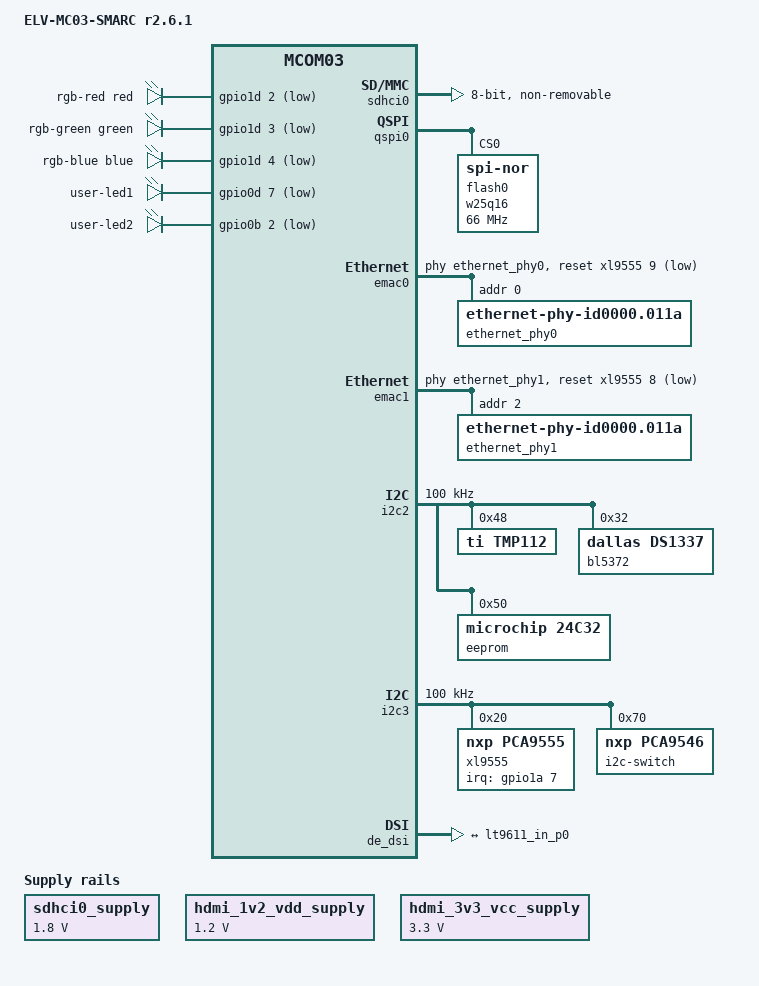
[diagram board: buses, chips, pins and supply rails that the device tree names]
// SPDX-License-Identifier: GPL-2.0+
/*
 * Copyright 2023 RnD Center "ELVEES", JSC
 */

/dts-v1/;

#include <dt-bindings/leds/common.h>
#include <dt-bindings/thermal/thermal.h>

#include "mcom03.dtsi"

/ {
	model = "ELV-MC03-SMARC r2.6.1";
	compatible = "elvees,elvmc03smarc-r2.6.1",
		     "elvees,elvmc03smarc",
		     "elvees,mcom03";

	elvmc03smarc-leds {
		compatible = "gpio-leds";

		rgb-red {
			gpios = <&gpio1d 2 GPIO_ACTIVE_LOW>;
			color = <LED_COLOR_ID_RED>;
			default-state = "off";
		};

		rgb-green {
			gpios = <&gpio1d 3 GPIO_ACTIVE_LOW>;
			color = <LED_COLOR_ID_GREEN>;
			default-state = "off";
		};

		rgb-blue {
			gpios = <&gpio1d 4 GPIO_ACTIVE_LOW>;
			color = <LED_COLOR_ID_BLUE>;
			default-state = "off";
		};

		user-led1 {
			gpios = <&gpio0d 7 GPIO_ACTIVE_LOW>;
			default-state = "on";
			linux,default-trigger = "heartbeat";
		};

		user-led2 {
			gpios = <&gpio0b 2 GPIO_ACTIVE_LOW>;
			default-state = "off";
		};
	};

	aliases {
		i2c5 = &i2c_cam0;
		i2c6 = &i2c_cam1;
		i2c7 = &i2c_lcd;
	};

	sdhci0_supply: regulator@0 {
		compatible = "regulator-fixed";
		regulator-name = "sdhci0-supply";
		regulator-min-microvolt = <1800000>;
		regulator-max-microvolt = <1800000>;
		regulator-always-on;
	};

	hdmi_1v2_vdd_supply: regulator@01 {
		compatible = "regulator-fixed";
		regulator-name = "hdmi-vdd-1.2v";
		regulator-min-microvolt = <1200000>;
		regulator-max-microvolt = <1200000>;
		regulator-always-on;
	};

	hdmi_3v3_vcc_supply: regulator@02 {
		compatible = "regulator-fixed";
		regulator-name = "hdmi-vcc-3.3v";
		regulator-min-microvolt = <3300000>;
		regulator-max-microvolt = <3300000>;
		regulator-always-on;
	};

	/* this is "G2" oscillator connected to SMARC "S38" pin*/
	audio_mclk: audio_mclk {
		status = "disabled";
		#clock-cells = <0>;
		compatible = "fixed-clock";
		clock-frequency = <12000000>;
	};

	hdmi_sound: hdmi-sound {
		compatible = "simple-audio-card";
		simple-audio-card,name = "ELV-MC03-SMARC HDMI Audio";
		simple-audio-card,format = "i2s";
		simple-audio-card,bitclock-master = <&dailink0_master>;
		simple-audio-card,frame-master = <&dailink0_master>;
		status = "disabled";

		dailink0_master: simple-audio-card,cpu {
			sound-dai = <&i2s0>;
		};

		simple-audio-card,codec {
			sound-dai = <&lt9611uxc>;
		};
	};

	thermal-zones {
		cpu_thermal: cpu0-thermal {
			thermal-sensors = <&pvt 0>;
			polling-delay-passive = <250>;
			polling-delay = <1000>;

			trips {
				cpu_alert0: cpu-alert-0 {
					temperature = <50000>;
					hysteresis = <1000>;
					type = "active";
				};
			};
		};
	};
};

/* Serial port definitions for SMARC */
ser0: &uart3 { };
ser1: &uart0 { };
ser2: &uart2 { };
ser3: &uart1 { };

&sdhci0 {
	status = "okay";
	non-removable;
	bus-width = <8>;
	vqmmc-supply = <&sdhci0_supply>;
};

&qspi0 {
	status = "okay";

	flash0: w25q16@0 {
		#address-cells = <1>;
		#size-cells = <1>;
		compatible = "jedec,spi-nor", "spi-flash";
		reg = <0x0>;
		/* This is the highest frequency at which all commands are
		 * supported by the flash device.
		 */
		spi-max-frequency = <66000000>;
		m25p,fast-read;
	};
};

&emac0 {
	phy-handle = <&ethernet_phy0>;
	reset-gpios = <&xl9555 9 GPIO_ACTIVE_LOW>;

	ethernet_phy0: ethernet-phy@0 {
		compatible = "ethernet-phy-id0000.011a", "ethernet-phy-ieee802.3-c22";
		reg = <0x0>;

		motorcomm,clk-out-frequency-hz = <0>;
		rx-internal-delay-ps = <1800>;
		tx-internal-delay-ps = <1200>;
	};
};

&emac1 {
	phy-handle = <&ethernet_phy1>;
	reset-gpios = <&xl9555 8 GPIO_ACTIVE_LOW>;

	ethernet_phy1: ethernet-phy@2 {
		compatible = "ethernet-phy-id0000.011a", "ethernet-phy-ieee802.3-c22";
		reg = <0x2>;

		motorcomm,clk-out-frequency-hz = <0>;
		rx-internal-delay-ps = <1900>;
		tx-internal-delay-ps = <1650>;
	};
};

sata: &pcie0 { };

&i2c2 {
	status = "okay";
	// not tested to work on 400k
	clock-frequency = <100000>;

	tmp112: temperature-sensor@48 {
		compatible = "ti,tmp112";
		reg = <0x48>;
	};

	bl5372: rtc@32 {
		compatible = "dallas,ds1337";
		reg = <0x32>;
	};

	eeprom@50 {
		compatible = "microchip,24c32", "atmel,24c32";
		reg = <0x50>;
	};

	lt9611uxc: hdmi-bridge@2b {
		status = "disabled";

		lontium,dsi-mode-video-burst;
		lontium,dsi-clock-non-continuous;

		compatible = "lontium,lt9611uxc";
		reg = <0x2b>;

		vdd-supply = <&hdmi_1v2_vdd_supply>;
		vcc-supply = <&hdmi_3v3_vcc_supply>;
		#sound-dai-cells = <0>;

		reset-gpios = <&xl9555 10 GPIO_ACTIVE_HIGH>;
		interrupts-extended = <&xl9555 12 IRQ_TYPE_EDGE_FALLING>;

		ports {
			#address-cells = <1>;
			#size-cells = <0>;

			port@0 {
				reg = <0>;
				lt9611_in_p0: endpoint {
					remote-endpoint = <&dsi_out>;
				};
			};
		};
	};
};

/* I2C definitions for SMARC*/
i2c_gp: &i2c1 { };
i2c_pm: &i2c0 { };

&gpio0a {
	gpio-line-names = "", "nSMB_ALERT", "SER0_CTS", "GPIO0_CAM0_PWR#",
		"GPIO1_CAM1_PWR#", "GPIO2_CAM0_RST#", "INT_LVDS_1V8", "SER0_RTS";
};

&gpio0b {
	gpio-line-names = "SER0_RX", "SER0_TX", "nUSER_LED2", "WDT_TIME_OUT#",
		"PCIE_A_nRST", "SER3_RX", "SER3_TX", "SER2_RX";
};

&gpio0c {
	gpio-line-names = "SPI_SCK", "SPI_MOSI", "SPI_MISO", "SPIO_SS_IN",
		"SPI_CS0", "SPI_CS1", "LVDS_nRST", "SDR_h1v8-l1v5";
};

&gpio0d {
	gpio-line-names = "SER2_TX", "", "", "I2C_PM_CK",
		"I2C_PM_DAT", "", "", "nUSER_LED1";
};

&gpio1a {
	gpio-line-names = "I2C_GP_CK", "I2C_GP_DAT", "I2C2_SCL", "I2C2_SDA",
		"I2C3_SCL", "I2C3_SDA", "GPIO3_CAM1_RST#", "nINT_GPIOEXP";
};

&gpio1b {
	gpio-line-names = "HDMI_I2S_SCLK", "HDMI_I2S_LRCLK", "HDMI_I2S_D",
		"nSLEEP", "ESPI_RESET#", "USB_HUB_RST#", "SER1_TX", "SER1_RX";
};

&gpio1c {
	gpio-line-names = "GPIO12", "GPIO13", "nCHARGING", "nCHARGER_PRSNT",
		"nTEST", "CARRIER_STBY#", "FORCE_RECOV#", "SATA_PERST";
};

&gpio1d {
	gpio-line-names = "nBATLOW", "LCD0_BKLT_PWM", "nLED-R", "nLED-G",
		"nLED-B", "GPIO5_PWM_OUT", "LCD0_BKLT_EN", "LCD0_VDD_EN";
};

&lsperiph1_pinctrl {
	xl9555_int: xl9555-int {
		pins = "GPIOA_7";
		input-enable;
	};
};

&i2c3 {
	status = "okay";
	/* On MCom-03 video sensors are handled by userspace drivers and are
	 * not described in DeviceTree. Limit clock-frequency to 100 kHz because
	 * this is maximum frequency for many sensors (for example OV5647). */
	clock-frequency = <100000>;

	xl9555: gpio-expander@20 {
		compatible = "nxp,pca9555";
		reg = <0x20>;
		gpio-controller;
		#gpio-cells = <2>;
		interrupt-controller;
		#interrupt-cells = <2>;
		interrupt-parent = <&gpio1a>;
		interrupts = <7 IRQ_TYPE_EDGE_FALLING>;

		pinctrl-names = "default";
		pinctrl-0 = <&xl9555_int>;

		gpio-line-names = "GPIO4", "GPIO6", "GPIO7", "GPIO8", "GPIO9", "GPIO10",
			"GPIO11", " PCIE_WAKE#", "nRST_ETH1", "nRST_ETH0", "nRST_HDMI", "",
			"INT_HDMI", "nINT_RTC", "nINT_ETH0", "nINT_ETH1";
	};

	i2c-switch@70 {
		compatible = "nxp,pca9546";
		reg = <0x70>;
		#address-cells = <1>;
		#size-cells = <0>;

		i2c_cam0: i2c3@0 {
			#address-cells = <1>;
			#size-cells = <0>;
			reg = <0>;
		};

		i2c_cam1: i2c3@1 {
			#address-cells = <1>;
			#size-cells = <0>;
			reg = <1>;
		};

		i2c_lcd: i2c3@2 {
			#address-cells = <1>;
			#size-cells = <0>;
			reg = <2>;
		};
	};
};

&de_dsi {
	dsi-min-clock-frequency = <275000000>;

	ports {
		port@1 {
			reg = <1>;
			dsi_out: endpoint {
				remote-endpoint = <&lt9611_in_p0>;
			};
		};
	};
};

&media_ucg1 {
	assigned-clocks = <&media_ucg1 CLK_MEDIA_UCG1_DISP_A>,
			  <&media_ucg1 CLK_MEDIA_UCG1_DISP_M>;
	assigned-clock-rates = <594000000 297000000>;
};

sata: &pcie0 { };
